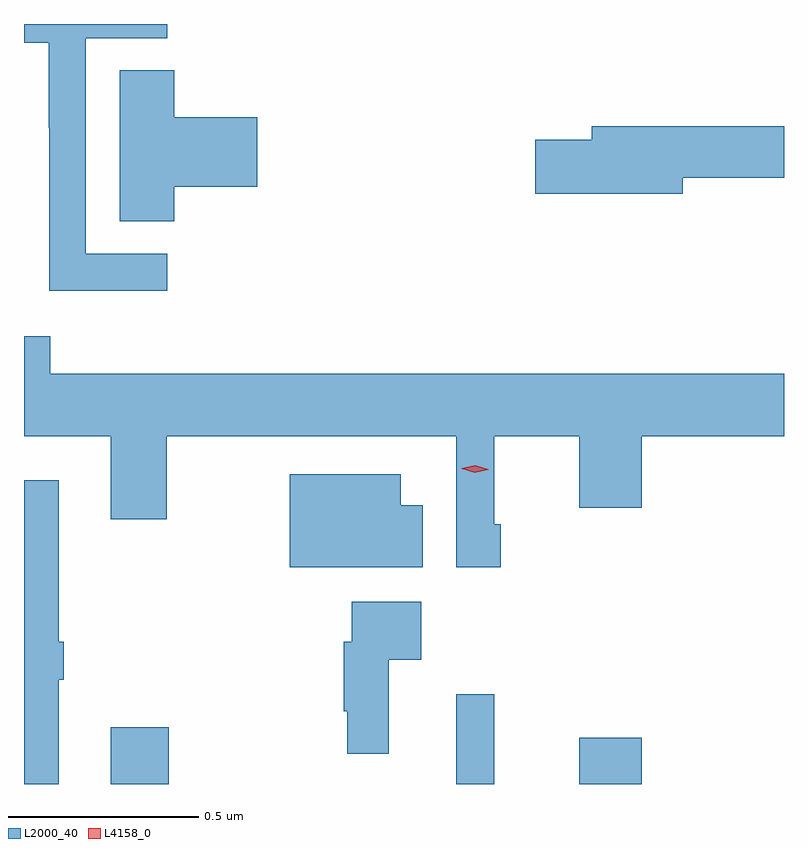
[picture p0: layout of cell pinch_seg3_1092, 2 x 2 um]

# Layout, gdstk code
import gdstk
lib = gdstk.Library(unit=1e-6, precision=1e-09)
def R(c, l, rs):  # rectangles x0, y0, x1, y1
    for r in rs: c.add(gdstk.rectangle(r[:2], r[2:], *l))
def P(c, l, *ps):  # polygons
    for p in ps: c.add(gdstk.Polygon(p, *l))
L2000_40 = (2000, 40)
L4158_0 = (4158, 0)

pinch_seg3_1092 = lib.new_cell('pinch_seg3_1092')
R(pinch_seg3_1092, L2000_40, [(259.679,701.333,259.832,701.482), (260.588,701.333,260.688,701.569), (260.912,701.333,261.076,701.455)])
P(pinch_seg3_1092, L2000_40, [(259.828,702.729),(259.614,702.729),(259.614,703.296),(259.828,703.296),(259.828,703.333),(259.451,703.333),(259.451,703.284),(259.516,703.284),(259.516,703.06),(259.518,703.06),(259.518,702.631),(259.828,702.631)],
  [(259.847,702.905),(260.065,702.905),(260.065,703.088),(259.847,703.088),(259.847,703.211),(259.703,703.211),(259.703,702.814),(259.847,702.814)],
  [(261.184,702.928),(261.451,702.928),(261.451,703.064),(260.945,703.064),(260.945,703.028),(260.796,703.028),(260.796,702.886),(261.184,702.886)],
  [(260.705,702.016),(260.688,702.016),(260.688,702.248),(260.912,702.248),(260.912,702.06),(261.076,702.06),(261.076,702.248),(261.451,702.248),(261.451,702.412),(259.52,702.412),(259.52,702.511),(259.451,702.511),(259.451,702.248),(259.679,702.248),(259.679,702.03),(259.827,702.03),(259.827,702.248),(260.589,702.248),(260.589,701.904),(260.705,701.904)],
  [(260.5,702.067),(260.443,702.067),(260.443,702.148),(260.15,702.148),(260.15,701.903),(260.5,701.903)],
  [(259.543,701.607),(259.556,701.607),(259.556,701.707),(259.543,701.707),(259.543,702.133),(259.451,702.133),(259.451,701.333),(259.543,701.333)],
  [(260.411,701.66),(260.497,701.66),(260.497,701.812),(260.313,701.812),(260.313,701.708),(260.293,701.708),(260.293,701.524),(260.301,701.524),(260.301,701.412),(260.411,701.412)])
P(pinch_seg3_1092, L4158_0, [(260.637,702.152),(260.603,702.163),(260.603,702.163),(260.603,702.164),(260.638,702.172),(260.673,702.161),(260.673,702.16),(260.673,702.16)])

lib.write_gds('pinch_seg3_1092.gds')
